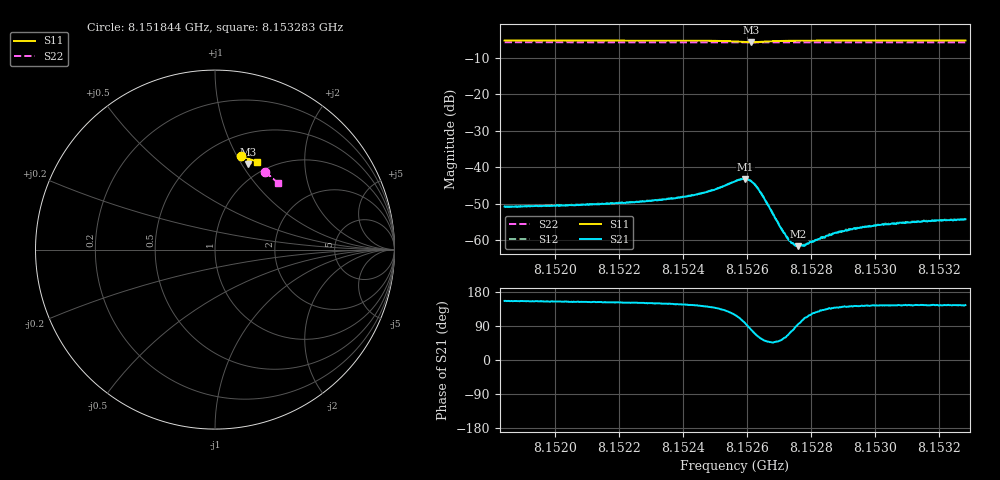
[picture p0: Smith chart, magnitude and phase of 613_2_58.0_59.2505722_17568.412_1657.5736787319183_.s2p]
#  HZ  S  RI  R  50.00
! Rohde & Schwarz Vector Network Analyzer
! Rohde-Schwarz,ZNB20-2Port,1311601062101988,3.16
! Created: UTC 3/21/2024, 1:17:49 AM
! freq[Hz]  re:S11  im:S11  re:S21  im:S21  re:S12  im:S12  re:S22  im:S22
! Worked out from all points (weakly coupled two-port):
!   401 points, 8.151844 GHz to 8.153283 GHz, reference 50 ohm
!   highest |S21| = -43.24 dB at 8.152596 GHz (marker M1); lowest = -61.7 dB at 8.152761 GHz (marker M2)
!   lowest |S11| = -5.8 dB at 8.152614 GHz (marker M3), VSWR 3.10, Z = 41.4 + j53.5 ohm
!   |S11| at or under -10 dB: nowhere
!   |S22| runs from -5.8 to -5.8 dB; largest |S21 - S12| = 0.00013
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8.151844e9  0.147 0.5199  -0.00263 0.00118  -0.00265 0.00123  0.2784 0.4298
8.152085e9  0.164 0.515  -0.00272 0.00135  -0.00272 0.00141  0.2911 0.4209
8.152326e9  0.1818 0.5088  -0.00305 0.0018  -0.00306 0.00182  0.3035 0.4117
8.1524483e9  0.1926 0.5032  -0.00343 0.00255  -0.00342 0.0026  0.3097 0.4069
8.1525022e9  0.1981 0.4982  -0.00366 0.00336  -0.00364 0.00343  0.3123 0.4045
8.1525634e9  0.2014 0.4856  -0.00307 0.00556  -0.00303 0.00566  0.3152 0.4016
8.1525957e9  0.1937 0.4768  -0.000755 0.00685  -0.000725 0.00692  0.3164 0.4001
8.1526137e9  0.1853 0.4771  0.00111 0.00631  0.00121 0.00637  0.317 0.3997
8.1526281e9  0.1802 0.4814  0.00213 0.00513  0.00221 0.00518  0.3173 0.3992
8.1526461e9  0.1784 0.4883  0.00242 0.00351  0.00252 0.00356  0.3182 0.3989
8.1527072e9  0.1874 0.4999  0.000891 0.00115  0.000925 0.00113  0.3218 0.3969
8.1527252e9  0.1903 0.5008  0.000486 0.000971  0.000501 0.000991  0.3227 0.396
8.1527468e9  0.1934 0.5011  0.000142 0.000875  0.000137 0.000857  0.3238 0.395
8.1527612e9  0.1953 0.5012  -7.37e-05 0.000823  -5.05e-05 0.000839  0.3245 0.3945
8.1527792e9  0.1974 0.5011  -0.000274 0.000783  -0.000277 0.000817  0.3257 0.3939
8.1528043e9  0.2 0.5008  -0.000515 0.000814  -0.00049 0.000809  0.3266 0.3928
8.1528511e9  0.2046 0.4998  -0.000804 0.000821  -0.000807 0.000831  0.329 0.3908
8.1528835e9  0.2075 0.4991  -0.000958 0.000841  -0.000945 0.000843  0.3306 0.3894
8.1529158e9  0.2102 0.4984  -0.00106 0.000868  -0.00105 0.000864  0.332 0.3881
8.1530453e9  0.2199 0.4949  -0.00134 0.000966  -0.00139 0.000988  0.3384 0.3825
8.1531532e9  0.2274 0.4918  -0.0015 0.00106  -0.00149 0.0011  0.3433 0.3779
8.1532827e9  0.2361 0.488  -0.00158 0.00111  -0.00158 0.00115  0.3492 0.372
